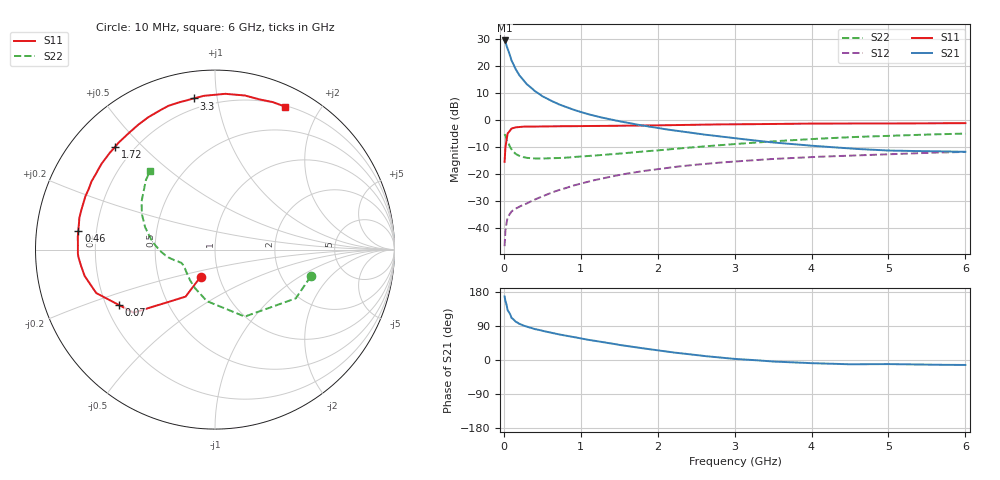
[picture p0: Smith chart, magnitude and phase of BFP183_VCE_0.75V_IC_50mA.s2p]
! Infineon Technologies  Discrete & RF Semiconductors
! BFP183
! VCE = 0.75V,  IC =  50 mA
! Common Emitter S-Parameters:  Jan 2016
# GHz  S  MA  R  50
!  f  S11  S21  S12  S22
! GHz  MAG  ANG  MAG  ANG  MAG  ANG  MAG  ANG
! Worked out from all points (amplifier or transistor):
!   210 points, 10 MHz to 6 GHz, reference 50 ohm
!   highest |S21| = 29.5 dB at 10 MHz (marker M1)
!   |S21| within 3 dB of that: start of sweep to 48.17 MHz
!   unconditionally stable (mu >= 1): start of sweep to 37.8 MHz; 137.2 MHz to end of sweep
!   at 185 MHz: K = 1.18, MAG = 22.3 dB, |S12| = -32.2 dB
!   at 1.52 GHz: K = 2.00, MAG = 4.1 dB, |S12| = -20.1 dB
!   at 6 GHz: K = 1.56, MAG = -4.4 dB, |S12| = -11.7 dB
!   S11 on the Smith chart (normalised r, x): 10 MHz: 0.82, -0.25; 70 MHz: 0.25, -0.25; 460 MHz: 0.13, +0.07; 1.72 GHz: 0.13, +0.42; 3.3 GHz: 0.14, +0.86; 6 GHz: 0.21, +1.59
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0.01  0.1704 -117.9  30 167.6  0.0047 62.6  0.5538 -15.7
0.02  0.3087 -122.0  28.31 156.1  0.009 59.9  0.5257 -31.1
0.05  0.5736 -142.2  20.92 130.9  0.0162 48.6  0.4086 -66.0
0.07  0.6186 -150.2  17.45 125.2  0.0179 43.5  0.3484 -76.5
0.1  0.7046 -159.9  12.79 111.2  0.0206 37.5  0.2905 -99.0
0.15  0.7412 -168.6  8.988 101.6  0.0232 38.0  0.242 -117.4
0.2  0.7543 -174.0  6.86 95.6  0.0252 39.6  0.2204 -129.1
0.26  0.7644 -178.4  5.361 90.6  0.0275 43.2  0.2073 -137.7
0.3  0.7636 179.2  4.639 87.6  0.0291 46.0  0.2021 -142.1
0.4  0.7677 174.7  3.494 81.8  0.0341 49.9  0.1973 -148.9
0.46  0.7684 172.1  3.071 79.2  0.0371 51.5  0.197 -151.4
0.54  0.772 169.0  2.616 75.3  0.0413 53.5  0.1974 -154.2
0.7  0.7769 163.6  2.014 68.2  0.0506 56.5  0.2004 -157.8
1.02  0.7813 153.6  1.395 56.3  0.0687 57.5  0.2148 -162.0
1.3  0.7882 145.9  1.102 46.5  0.0854 56.2  0.23 -164.6
1.72  0.7984 134.1  0.839 33.3  0.11 52.6  0.2579 -169.7
2.02  0.8078 126.3  0.71 25.0  0.1263 48.9  0.2796 -173.7
3.1  0.8455 101.7  0.45 1.7  0.177 35.3  0.372 168.4
3.3  0.8504 97.9  0.419 -0.9  0.1848 32.7  0.3899 165.2
4.1  0.8697 84.8  0.331 -8.9  0.2119 23.2  0.458 152.8
5.1  0.8742 72.5  0.274 -11.1  0.2387 13.2  0.5214 139.2
6  0.8869 63.8  0.262 -13.1  0.2602 3.5  0.5688 129.6
